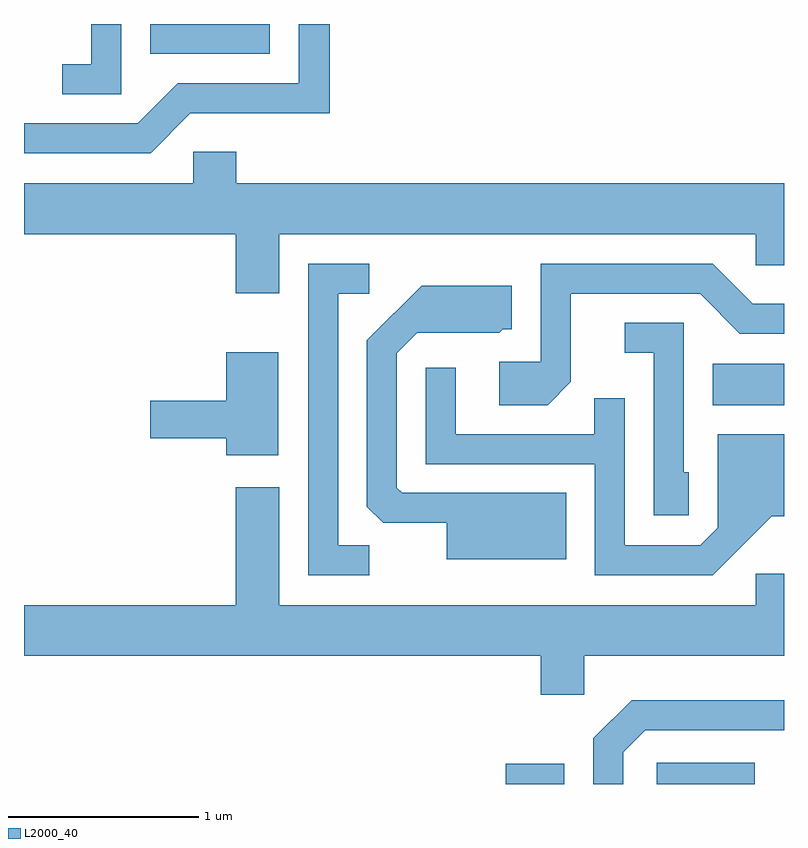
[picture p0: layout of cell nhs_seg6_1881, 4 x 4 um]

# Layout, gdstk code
import gdstk
lib = gdstk.Library(unit=1e-6, precision=1e-09)
def R(c, l, rs):  # rectangles x0, y0, x1, y1
    for r in rs: c.add(gdstk.rectangle(r[:2], r[2:], *l))
def P(c, l, *ps):  # polygons
    for p in ps: c.add(gdstk.Polygon(p, *l))
L2000_40 = (2000, 40)

nhs_seg6_1881 = lib.new_cell('nhs_seg6_1881')
R(nhs_seg6_1881, L2000_40, [(244.146,1638.162,244.454,1638.269), (244.941,1638.162,245.458,1638.274), (245.236,1640.156,245.611,1640.374), (242.276,1642.006,242.904,1642.162)])
P(nhs_seg6_1881, L2000_40, [(242.124,1642.162),(241.966,1642.162),(241.966,1641.949),(241.813,1641.949),(241.813,1641.791),(242.124,1641.791)],
  [(242.487,1641.691),(243.219,1641.691),(243.219,1642.162),(243.056,1642.162),(243.056,1641.849),(242.419,1641.849),(242.209,1641.639),(241.611,1641.639),(241.611,1641.481),(242.277,1641.481)],
  [(242.954,1641.056),(245.461,1641.056),(245.461,1640.891),(245.611,1640.891),(245.611,1641.324),(242.729,1641.324),(242.729,1641.489),(242.501,1641.489),(242.501,1641.324),(241.611,1641.324),(241.611,1641.056),(242.726,1641.056),(242.726,1640.746),(242.954,1640.746)],
  [(244.489,1640.279),(244.489,1640.741),(245.169,1640.741),(245.379,1640.531),(245.611,1640.531),(245.611,1640.689),(245.447,1640.689),(245.237,1640.899),(244.331,1640.899),(244.331,1640.384),(244.111,1640.384),(244.111,1640.156),(244.367,1640.156)],
  [(243.428,1639.419),(243.264,1639.419),(243.264,1640.741),(243.428,1640.741),(243.428,1640.899),(243.106,1640.899),(243.106,1639.261),(243.428,1639.261)],
  [(244.464,1639.694),(243.602,1639.694),(243.574,1639.722),(243.574,1640.429),(243.682,1640.536),(244.112,1640.536),(244.132,1640.556),(244.179,1640.556),(244.179,1640.784),(243.704,1640.784),(243.416,1640.497),(243.416,1639.622),(243.502,1639.536),(243.836,1639.536),(243.836,1639.346),(244.464,1639.346)],
  [(245.109,1639.804),(245.084,1639.804),(245.084,1640.589),(244.773,1640.589),(244.773,1640.431),(244.926,1640.431),(244.926,1639.576),(245.109,1639.576)],
  [(242.949,1640.434),(242.676,1640.434),(242.676,1640.179),(242.276,1640.179),(242.276,1639.981),(242.676,1639.981),(242.676,1639.891),(242.949,1639.891)],
  [(245.547,1639.571),(245.611,1639.571),(245.611,1640.004),(245.261,1640.004),(245.261,1639.512),(245.169,1639.419),(244.774,1639.419),(244.774,1640.193),(244.611,1640.193),(244.611,1640.004),(243.884,1640.004),(243.884,1640.353),(243.726,1640.353),(243.726,1639.846),(244.616,1639.846),(244.616,1639.261),(245.237,1639.261)],
  [(244.559,1638.836),(245.611,1638.836),(245.611,1639.269),(245.461,1639.269),(245.461,1639.104),(242.954,1639.104),(242.954,1639.724),(242.726,1639.724),(242.726,1639.104),(241.611,1639.104),(241.611,1638.836),(244.331,1638.836),(244.331,1638.631),(244.559,1638.631)],
  [(244.764,1638.329),(244.882,1638.446),(245.611,1638.446),(245.611,1638.604),(244.809,1638.604),(244.606,1638.402),(244.606,1638.162),(244.764,1638.162)])

lib.write_gds('nhs_seg6_1881.gds')
